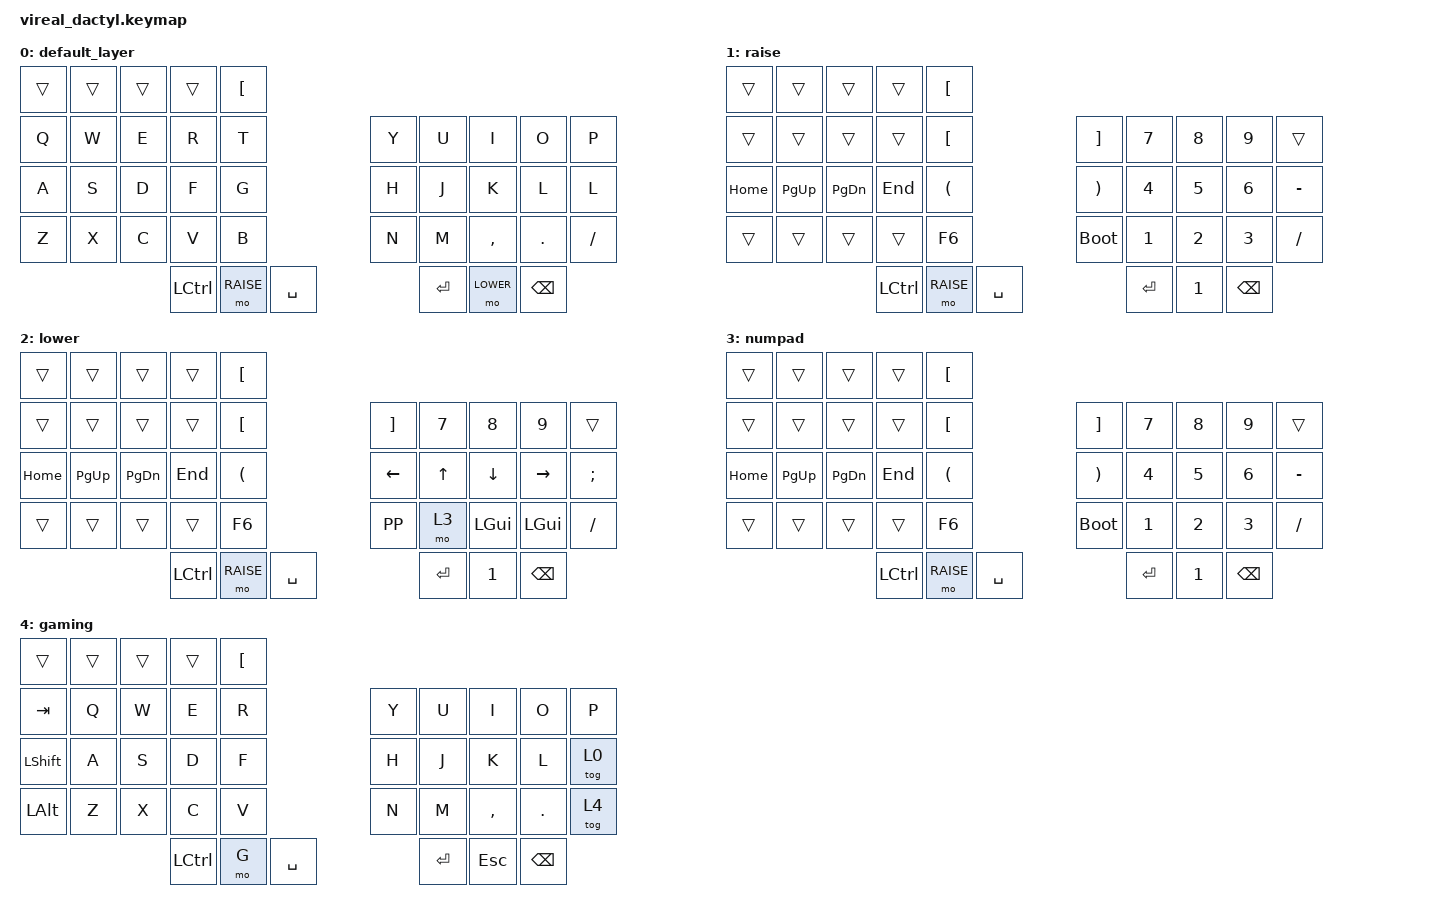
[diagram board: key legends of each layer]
#include <behaviors.dtsi>
#include <dt-bindings/zmk/keys.h>
#include <dt-bindings/zmk/bt.h>
#define ZMK_POINTING_DEFAULT_MOVE_VAL 600  // default: 600
#define ZMK_POINTING_DEFAULT_SCRL_VAL 10    // default: 10
#include <dt-bindings/zmk/pointing.h>

#define DEFAULT 0
#define RAISE   1
#define LOWER   2
#define NUMPAD  3 
#define GAMING  4

/ {
    keymap {
        compatible = "zmk,keymap";

        default_layer {
// Commented layout is not actual layout.
// -------------------------------------------------------------------------------------------------------------------------
// |   TAB   |    Q    |    W    |    E    |    R    |    T    |                   |    Y    |    U    |    I    |    O    |    P    |
// |  LALT   |    A    |    S    |    D    |    F    |    G    |                   |    H    |    J    |    K    |    L    |    ;    |
// |  LCTRL  |    Z    |    X    |    C    |    V    |    B    |                   |    N    |    M    |    ,    |    .    |    /    |
//                              |    LCTRL | MO lay 1| SPACE   |                   | ENTER   | Lower | BSPC
            bindings = <
&trans     &trans    &trans     &trans     &kp LBKT
&kp Q      &kp W     &kp E      &kp R      &kp T                           &kp Y      &kp U      &kp I      &kp O      &kp P
&kp A      &kp S     &kp D      &kp F      &kp G                           &kp H      &kp J      &kp K      &kp L      &kp L 
&kp Z      &kp X     &kp C      &kp V      &kp B                           &kp N      &kp M      &kp COMMA  &kp DOT    &kp FSLH     
                                &kp LCTRL  &mo RAISE  &kp SPACE                       &kp ENTER  &mo LOWER  &kp BSPC 
            >;
        };

        raise {
// commented layout is not actual layout.
// -------------------------------------------------------------------------------------------------------------------------
// |   tab   |    q    |    w    |    e    |    r    |    t    |                   |    y    |    u    |    i    |    o    |    p    |
// |  lalt   |    a    |    s    |    d    |    f    |    g    |                   |    h    |    j    |    k    |    l    |    ;    |
// |  lctrl  |    z    |    x    |    c    |    v    |    b    |                   |    n    |    m    |    ,    |    .    |    /    |
//                              |    LCTRL | MO lay 1| SPACE   |                   | ENTER   | Lower | BSPC
            bindings = <
&trans     &trans    &trans     &trans     &kp LBKT
&trans     &trans    &trans     &trans     &kp LBKT                        &kp RBKT      &kp 7      &kp 8      &kp 9      &trans
&kp HOME   &kp PG_UP &kp PG_DN  &kp END    &kp LPAR                        &kp RPAR      &kp 4      &kp 5      &kp 6      &kp MINUS
&trans     &trans    &trans     &trans     &kp F6                          &bootloader   &kp 1      &kp 2      &kp 3      &kp FSLH
                                  &kp LCTRL  &mo RAISE  &kp SPACE                       &kp ENTER     &kp 1      &kp BSPC 
            >;
        };

        lower {
// commented layout is not actual layout.
// -------------------------------------------------------------------------------------------------------------------------
// |   tab   |    q    |    w    |    e    |    r    |    t    |                   |    y    |    u    |    i    |    o    |    p    |
// |  lalt   |    a    |    s    |    d    |    f    |    g    |                   |    h    |    j    |    k    |    l    |    ;    |
// |  lctrl  |    z    |    x    |    c    |    v    |    b    |                   |    n    |    m    |    ,    |    .    |    /    |
//                               |    LCTRL | MO lay 1| SPACE  |                   | ENTER   | Lower | BSPC
            bindings = <
&trans     &trans    &trans     &trans     &kp LBKT
&trans    &trans     &trans     &trans     &kp LBKT     &kp RBKT     &kp 7  &kp 8     &kp 9  &trans
&kp HOME  &kp PG_UP  &kp PG_DN  &kp END    &kp LPAR     &kp LEFT    &kp UP      &kp DOWN    &kp RIGHT  &kp SEMI
&trans    &trans     &trans     &trans     &kp F6       &kp K_PP    &mo 3       &kp LGUI    &kp LGUI   &kp FSLH
                                 &kp LCTRL  &mo RAISE  &kp SPACE    &kp ENTER    &kp 1  &kp BSPC
            >;
        };

        numpad {
            // commented layout is not actual layout.
            // -------------------------------------------------------------------------------------------------------------------------
            // |   tab   |    q    |    w    |    e    |    r    |    t    |                   |    y    |    u    |    i    |    o    |    p    |
            // |  lalt   |    a    |    s    |    d    |    f    |    g    |                   |    h    |    j    |    k    |    l    |    ;    |
            // |  lctrl  |    z    |    x    |    c    |    v    |    b    |                   |    n    |    m    |    ,    |    .    |    /    |
            //                               |    LCTRL | MO lay 1| SPACE  |                   | ENTER   | Lower | BSPC

            bindings = <
&trans     &trans    &trans     &trans     &kp LBKT

&trans    &trans     &trans     &trans     &kp LBKT     &kp RBKT     &kp 7  &kp 8     &kp 9  &trans

&kp HOME  &kp PG_UP  &kp PG_DN  &kp END    &kp LPAR     &kp RPAR     &kp 4  &kp 5     &kp 6  &kp MINUS

&trans    &trans     &trans     &trans     &kp F6       &bootloader  &kp 1  &kp 2     &kp 3  &kp FSLH

                                 &kp LCTRL  &mo RAISE  &kp SPACE    &kp ENTER    &kp 1  &kp BSPC
            >;
        };


        gaming {
            bindings = <
&trans     &trans    &trans     &trans     &kp LBKT

&kp TAB       &kp Q  &kp W      &kp E      &kp R        &kp Y    &kp U    &kp I      &kp O    &kp P

&kp LSHFT     &kp A  &kp S      &kp D      &kp F        &kp H    &kp J    &kp K      &kp L    &tog 0

&kp LEFT_ALT  &kp Z  &kp X      &kp C      &kp V        &kp N    &kp M    &kp COMMA  &kp DOT  &tog 4

                     &kp LCTRL  &mo G  &kp SPACE    &kp RET  &kp ESC  &kp BSPC
            >;
        };
   };
};
